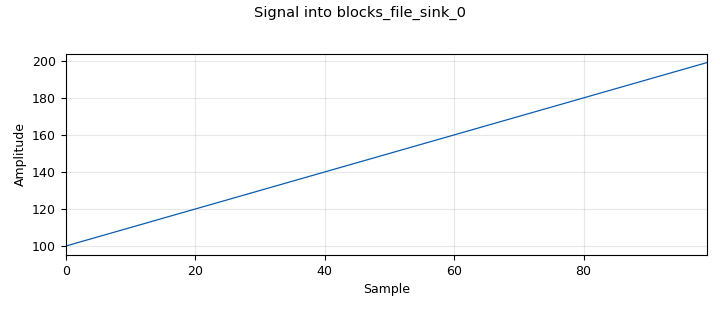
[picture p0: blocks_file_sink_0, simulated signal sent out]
<?xml version='1.0' encoding='utf-8'?>
<?grc format='1' created='3.7.8'?>
<flow_graph>
<block>
<key>options</key>
<param><key>id</key><value>blocks_head</value></param>
<param><key>category</key><value>Custom</value></param>
<param><key>generate_options</key><value>no_gui</value></param>
<param><key>run_options</key><value>run</value></param>
</block>
<block>
<key>variable</key>
<param><key>id</key><value>samp_rate</value></param>
<param><key>value</key><value>32000</value></param>
</block>
<block>
<key>blocks_file_sink</key>
<param><key>id</key><value>blocks_file_sink_0</value></param>
<param><key>file</key><value>/tmp/blocks_head.dat</value></param>
<param><key>type</key><value>int</value></param>
</block>
<block>
<key>blocks_head</key>
<param><key>id</key><value>blocks_head_0</value></param>
<param><key>num_items</key><value>100</value></param>
<param><key>type</key><value>int</value></param>
</block>
<block>
<key>blocks_skiphead</key>
<param><key>id</key><value>blocks_skiphead_0</value></param>
<param><key>num_items</key><value>100</value></param>
<param><key>type</key><value>int</value></param>
</block>
<block>
<key>blocks_vector_source_x</key>
<param><key>id</key><value>blocks_vector_source_x_0</value></param>
<param><key>type</key><value>int</value></param>
<param><key>repeat</key><value>True</value></param>
<param><key>vector</key><value>range(300)</value></param>
</block>
<connection><source_block_id>blocks_head_0</source_block_id><sink_block_id>blocks_file_sink_0</sink_block_id><source_key>0</source_key><sink_key>0</sink_key></connection>
<connection><source_block_id>blocks_skiphead_0</source_block_id><sink_block_id>blocks_head_0</sink_block_id><source_key>0</source_key><sink_key>0</sink_key></connection>
<connection><source_block_id>blocks_vector_source_x_0</source_block_id><sink_block_id>blocks_skiphead_0</sink_block_id><source_key>0</source_key><sink_key>0</sink_key></connection>
</flow_graph>
